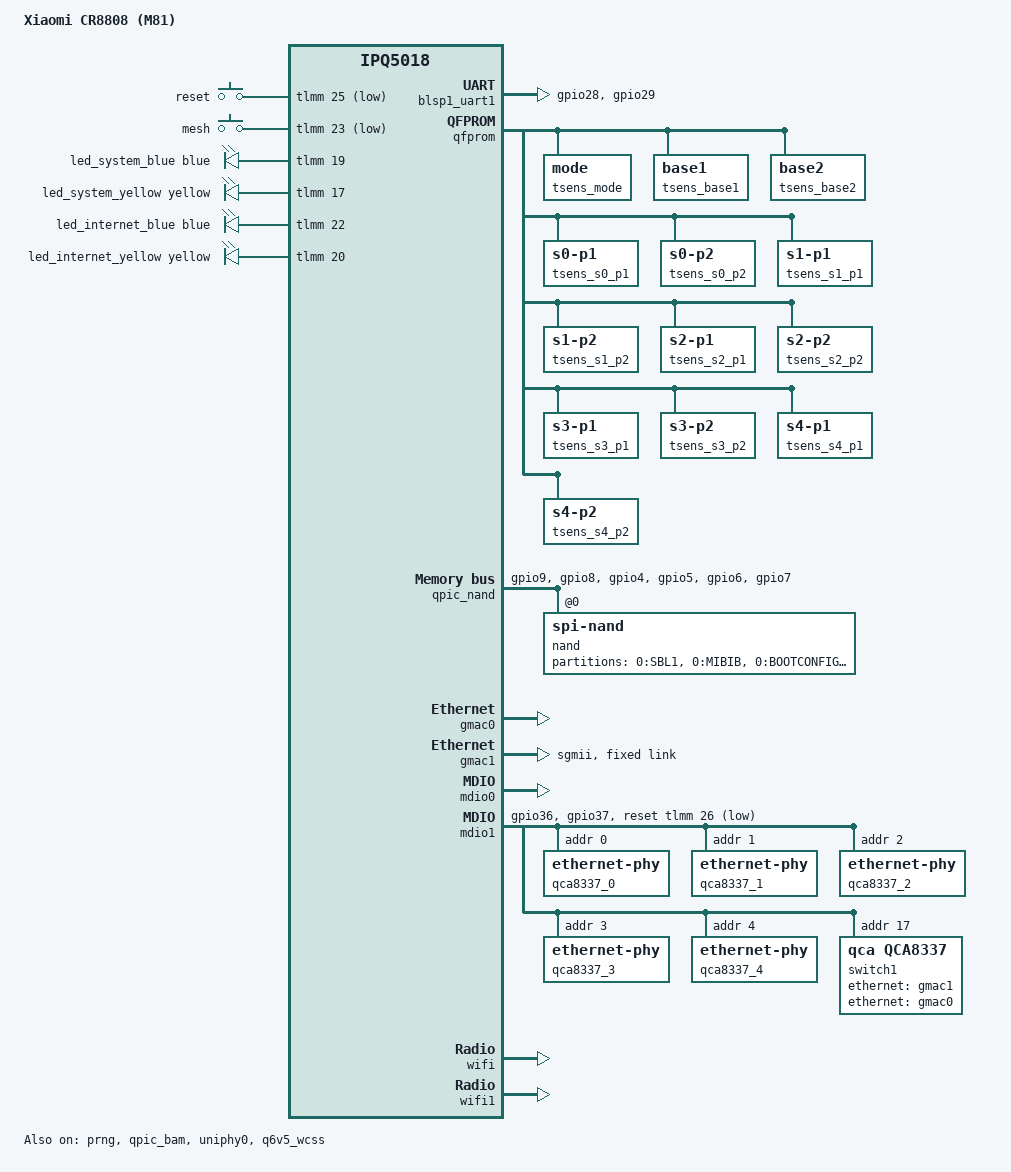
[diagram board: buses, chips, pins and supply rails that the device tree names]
// A版 M81 device tree for Xiaomi CR8808 (M81), adapted from kuncy7's
// ipq5018-cr8806.dts (c3po-tag-8021q @ 13e8bc9). The base tree has no M81
// profile, so this file lives in the scaffold repo and the workflow copies
// it into the base tree at build time (see "Install custom devices").
//
// Changes vs the M79 DTS (only identity lines differ; everything else is
// copied verbatim):
//   model: "Xiaomi CR8806 (M79)" -> "Xiaomi CR8808 (M81)"
//   compatible: "xiaomi,cr8806" -> "xiaomi,cr8808"
//   wifi (2.4 GHz) node: qcom,ath11k-calibration-variant -> qcom,board_id
//     = <0x24> (M81, epa); wifi1 (5 GHz) node: -> qcom,board_id = <0x60>
//     (shared 5 GHz entry). Board-id selection mirrors hzyitc, whose
//     hotplug script picks 0x24 for epa (external PA, M81) and 0x10 for
//     ipa (M79) from the OEM wl_pa_type flag.
//
// STATUS - READ BEFORE BUILDING:
// - Switch (QCA8337), SoC (IPQ5018), radios (IPQ5018 + QCN6122), NAND
//   (128 MB, 128k block / 2048 page) and FIT config (config@mp02.1) are
//   copied from M79. hzyitc covers M79 and M81 with a single DTS, which
//   is the evidence they match. Partitions confirmed same as M79
//   (trigsoft merged, 19 entries) by user 2026-11-05, so fixed-
//   partitions (same block as M79) replaces smem-part here. LED/button
//   GPIOs are NOT yet verified on M81 hardware in this tree, and
//   boot + WiFi on a real M81 board are still untested.
// - Board data comes from hzyitc's redmi_ax3000 board files, fetched by
//   the workflow at build time (pinned commit + sha256 check) into the
//   per-device overlay: the 2.4 GHz file carries two entries, board-id
//   0x10 (M79) and 0x24 (M81); this DTS selects 0x24. The 5 GHz file has
//   the single shared board-id 0x60 entry (RTC66568 on both boards).
//   On-device verification is still required: 2.4 GHz power/throughput
//   on real M81 hardware, before trusting the 5.4-era board data on
//   kernel 6.18 ath11k.
// - When the base tree gains a real M81 profile, delete this file and
//   the matching .mk.inc and point the config at the base profile.

// SPDX-License-Identifier: GPL-2.0-or-later OR MIT

/dts-v1/;

#include "ipq5018.dtsi"
#include "ipq5018-ess.dtsi"
#include "ipq5018-qcn6122.dtsi"
#include "ipq5018-nss.dtsi"

#include <dt-bindings/gpio/gpio.h>
#include <dt-bindings/input/input.h>
#include <dt-bindings/leds/common.h>
#include <dt-bindings/thermal/thermal.h>

/ {
	model = "Xiaomi CR8808 (M81)";
	compatible = "xiaomi,cr8808", "qcom,ipq5018";

	reserved-memory {
		q6_region_qcn6122_1: q6-region-qcn6122-1@4d200000 {
			reg = <0x0 0x4d200000 0x0 0xd00000>;
			no-map;
		};

		m3_dump_qcn6122_1: m3-dump-qcn6122-1@4df00000 {
			reg = <0x0 0x4df00000 0x0 0x100000>;
			no-map;
		};
	};

	aliases {
		serial0 = &blsp1_uart1;
		label-mac-device = &gmac0;
		led-boot = &led_system_blue;
		led-failsafe = &led_system_yellow;
		led-running = &led_system_blue;
		led-upgrade = &led_system_yellow;
	};

	chosen {
		/*
		 * Xiaomi's U-Boot passes ubi.mtd=rootfs or ubi.mtd=rootfs_1
		 * depending on flag_boot_rootfs. Keep it, so OpenWrt can live
		 * in either slot, and only override the root device.
		 *
		 * coherent_pool sizes the three atomic DMA pools (kernel, DMA,
		 * DMA32). 2M was needed while the MPD firmware loader took its
		 * segment buffers from the atomic pool. That loader is no longer
		 * in the kernel (multiPD is done in ath11k), so 512K is enough,
		 * as on the other 256 MiB boards.
		 */
		bootargs-append = " root=/dev/ubiblock0_1 swiotlb=1 coherent_pool=512K";
		stdout-path = "serial0:115200n8";
	};

	keys {
		compatible = "gpio-keys";
		pinctrl-0 = <&button_pins>;
		pinctrl-names = "default";

		reset-button {
			label = "reset";
			gpios = <&tlmm 25 GPIO_ACTIVE_LOW>;
			linux,code = <KEY_RESTART>;
		};

		mesh-button {
			label = "mesh";
			gpios = <&tlmm 23 GPIO_ACTIVE_LOW>;
			linux,code = <KEY_WPS_BUTTON>;
		};
	};

	leds {
		compatible = "gpio-leds";
		pinctrl-0 = <&led_pins>;
		pinctrl-names = "default";

		led_system_blue: led-0 {
			gpios = <&tlmm 19 GPIO_ACTIVE_HIGH>;
			color = <LED_COLOR_ID_BLUE>;
			function = LED_FUNCTION_STATUS;
			default-state = "on";
		};

		led_system_yellow: led-1 {
			gpios = <&tlmm 17 GPIO_ACTIVE_HIGH>;
			color = <LED_COLOR_ID_YELLOW>;
			function = LED_FUNCTION_STATUS;
		};

		led_internet_blue: led-2 {
			gpios = <&tlmm 22 GPIO_ACTIVE_HIGH>;
			color = <LED_COLOR_ID_BLUE>;
			function = LED_FUNCTION_WAN;
		};

		led_internet_yellow: led-3 {
			gpios = <&tlmm 20 GPIO_ACTIVE_HIGH>;
			color = <LED_COLOR_ID_YELLOW>;
			function = LED_FUNCTION_WAN;
		};
	};
};

/*
 * The vendor DT reserves 4 MiB for TZ (upstream: 2 MiB); keep Linux out
 * of the whole region.
 */
&tz_region {
	reg = <0x0 0x4ac00000 0x0 0x400000>;
};

&sleep_clk {
	clock-frequency = <32000>;
};

&xo_board_clk {
	clock-div = <4>;
	clock-mult = <1>;
};

&blsp1_uart1 {
	status = "okay";

	pinctrl-0 = <&serial_0_pins>;
	pinctrl-names = "default";
};

&prng {
	status = "okay";
};

&qfprom {
	status = "okay";

	/* TSENS calibration cells (upstream ipq5018.dtsi): the tsens
	 * node below reads these via nvmem. Without them the sensor
	 * has no calibration data and reads garbage.
	 */
	tsens_mode: mode@249 {
		reg = <0x249 0x1>;
		bits = <0 3>;
	};

	tsens_base1: base1@249 {
		reg = <0x249 0x2>;
		bits = <3 8>;
	};

	tsens_base2: base2@24a {
		reg = <0x24a 0x2>;
		bits = <3 8>;
	};

	tsens_s0_p1: s0-p1@24b {
		reg = <0x24b 0x2>;
		bits = <2 6>;
	};

	tsens_s0_p2: s0-p2@24c {
		reg = <0x24c 0x1>;
		bits = <1 6>;
	};

	tsens_s1_p1: s1-p1@24c {
		reg = <0x24c 0x2>;
		bits = <7 6>;
	};

	tsens_s1_p2: s1-p2@24d {
		reg = <0x24d 0x2>;
		bits = <5 6>;
	};

	tsens_s2_p1: s2-p1@24e {
		reg = <0x24e 0x2>;
		bits = <3 6>;
	};

	tsens_s2_p2: s2-p2@24f {
		reg = <0x24f 0x1>;
		bits = <1 6>;
	};

	tsens_s3_p1: s3-p1@24f {
		reg = <0x24f 0x2>;
		bits = <7 6>;
	};

	tsens_s3_p2: s3-p2@250 {
		reg = <0x250 0x2>;
		bits = <5 6>;
	};

	tsens_s4_p1: s4-p1@251 {
		reg = <0x251 0x2>;
		bits = <3 6>;
	};

	tsens_s4_p2: s4-p2@254 {
		reg = <0x254 0x1>;
		bits = <0 6>;
	};
};

&qpic_bam {
	status = "okay";
};

&qpic_nand {
	pinctrl-0 = <&qpic_pins>;
	pinctrl-names = "default";
	status = "okay";

	nand@0 {
		compatible = "spi-nand";
		reg = <0>;
		nand-ecc-engine = <&qpic_nand>;
		/*
		 * NAND ECC strength is 4-bit (step 512), NOT 8-bit.
		 * kuncy7's stock-U-Boot note ("stock U-Boot uses 8-bit ECC")
		 * does NOT apply to trigsoft-chain devices: trigsoft's
		 * modified U-Boot reads/writes NAND with 4-bit-compatible
		 * ECC, so an 8-bit kernel cannot decode trigsoft-written
		 * pages (UBI attach fails, no boot). Build #6 (8-bit)
		 * failed exactly this way via trigsoft web flash, while
		 * HZYITC 5.4 (4-bit) and ImmortalWrt (default = 4-bit)
		 * both boot. Diagnosis 2026-11-03 (build6-diagnosis).
		 */
		nand-ecc-step-size = <512>;
		nand-ecc-strength = <4>;
		nand-bus-width = <8>;

		partitions {
			compatible = "fixed-partitions";
			#address-cells = <1>;
			#size-cells = <1>;

			partition@0 {
				label = "0:SBL1";
				reg = <0x0000000 0x0080000>;
				read-only;
			};

			partition@80000 {
				label = "0:MIBIB";
				reg = <0x0080000 0x0080000>;
				read-only;
			};

			partition@100000 {
				label = "0:BOOTCONFIG";
				reg = <0x0100000 0x0040000>;
				read-only;
			};

			partition@140000 {
				label = "0:BOOTCONFIG1";
				reg = <0x0140000 0x0040000>;
				read-only;
			};

			partition@180000 {
				label = "0:QSEE";
				reg = <0x0180000 0x0100000>;
				read-only;
			};

			partition@280000 {
				label = "0:QSEE_1";
				reg = <0x0280000 0x0100000>;
				read-only;
			};

			partition@380000 {
				label = "0:DEVCFG";
				reg = <0x0380000 0x0040000>;
				read-only;
			};

			partition@3c0000 {
				label = "0:DEVCFG_1";
				reg = <0x03c0000 0x0040000>;
				read-only;
			};

			partition@400000 {
				label = "0:CDT";
				reg = <0x0400000 0x0040000>;
				read-only;
			};

			partition@440000 {
				label = "0:CDT_1";
				reg = <0x0440000 0x0040000>;
				read-only;
			};

			partition@480000 {
				label = "0:APPSBLENV";
				reg = <0x0480000 0x0080000>;
			};

			partition@500000 {
				label = "0:APPSBL";
				reg = <0x0500000 0x0140000>;
				read-only;
			};

			partition@640000 {
				label = "0:APPSBL_1";
				reg = <0x0640000 0x0140000>;
				read-only;
			};

			partition@780000 {
				label = "0:ART";
				reg = <0x0780000 0x0100000>;
				read-only;

				nvmem-layout {
					compatible = "fixed-layout";
					#address-cells = <1>;
					#size-cells = <1>;

					macaddr_art_0: mac-address@0 {
						compatible = "mac-base";
						reg = <0x0 0x6>;
						#nvmem-cell-cells = <1>;
					};

					macaddr_art_6: mac-address@6 {
						compatible = "mac-base";
						reg = <0x6 0x6>;
						#nvmem-cell-cells = <1>;
					};
				};
			};

			partition@880000 {
				label = "0:TRAINING";
				reg = <0x0880000 0x0080000>;
				read-only;
			};

			partition@900000 {
				label = "bdata";
				reg = <0x0900000 0x0080000>;
			};

			partition@980000 {
				label = "crash";
				reg = <0x0980000 0x0080000>;
			};

			partition@a00000 {
				label = "crash_log";
				reg = <0x0a00000 0x0080000>;
			};

			partition@a80000 {
				label = "rootfs";
				reg = <0x0a80000 0x7480000>;
			};
		};
	};
};

&uniphy0 {
	status = "okay";

	assigned-clocks = <&uniphy0 UNIPHY_CLK_REF>;
	assigned-clock-rates = <UNIPHY_REFCLK_25MHZ>;
};

// MAC0 -> GE Phy -> QCA8337 Phy4 (WAN path)
&gmac0 {
	status = "okay";

	nvmem-cells = <&macaddr_art_0 0>;
	nvmem-cell-names = "mac-address";
};

// MAC1 ---SGMII---> QCA8337 SerDes (LAN path)
&gmac1 {
	status = "okay";

	phy-mode = "sgmii";

	nvmem-cells = <&macaddr_art_6 0>;
	nvmem-cell-names = "mac-address";

	fixed-link {
		speed = <1000>;
		full-duplex;
	};
};

&mdio0 {
	status = "okay";
};

&ge_phy {
	qcom,dac-preset-short-cable;
};

&mdio1 {
	status = "okay";

	pinctrl-0 = <&mdio1_pins>;
	pinctrl-names = "default";
	reset-gpios = <&tlmm 26 GPIO_ACTIVE_LOW>;

	// QCA8337 Phy0 -> LAN1
	qca8337_0: ethernet-phy@0 {
		reg = <0>;
	};

	// QCA8337 Phy1 -> LAN2
	qca8337_1: ethernet-phy@1 {
		reg = <1>;
	};

	// QCA8337 Phy2 -> LAN3
	qca8337_2: ethernet-phy@2 {
		reg = <2>;
	};

	// QCA8337 Phy3 -> WAN
	qca8337_3: ethernet-phy@3 {
		reg = <3>;
	};

	// QCA8337 Phy4 -> IPQ5018 GE Phy
	qca8337_4: ethernet-phy@4 {
		reg = <4>;
	};

	switch1: ethernet-switch@17 {
		compatible = "qca,qca8337";
		reg = <17>;
		#address-cells = <1>;
		#size-cells = <0>;

		ethernet-ports {
			#address-cells = <1>;
			#size-cells = <0>;

			ethernet-port@0 {
				reg = <0>;
				phy-mode = "sgmii";
				ethernet = <&gmac1>;
				qca,sgmii-enable-pll;

				fixed-link {
					speed = <1000>;
					full-duplex;
				};
			};

			ethernet-port@1 {
				reg = <1>;
				label = "lan1";
				phy-handle = <&qca8337_0>;
			};

			ethernet-port@2 {
				reg = <2>;
				label = "lan2";
				phy-handle = <&qca8337_1>;
			};

			ethernet-port@3 {
				reg = <3>;
				label = "lan3";
				phy-handle = <&qca8337_2>;
			};

			ethernet-port@4 {
				reg = <4>;
				label = "wan";
				phy-handle = <&qca8337_3>;
				nvmem-cells = <&macaddr_art_0 0>;
				nvmem-cell-names = "mac-address";
			};

			/*
			 * Port 5 connects to GMAC0 via PHY4, but all user ports are
			 * assigned to conduit eth1 (GMAC1/port 0). Keeping port 5
			 * enabled causes the switch to flood routed/WAN frames to
			 * GMAC0, triggering high softirq packet drop storms on eth0.
			 * (Upstream a67d696c5d, 2026-11-07: disable unused port 5.)
			 */
			ethernet-port@5 {
				reg = <5>;
				phy-handle = <&qca8337_4>;
				phy-mode = "gmii";
				ethernet = <&gmac0>;
				status = "disabled";
			};
		};
	};
};

&tlmm {
	button_pins: button-state {
		pins = "gpio23", "gpio25";
		function = "gpio";
		drive-strength = <8>;
		bias-pull-up;
	};

	led_pins: led-state {
		pins = "gpio17", "gpio19", "gpio20", "gpio22";
		function = "gpio";
		drive-strength = <8>;
		bias-pull-down;
	};

	mdio1_pins: mdio-state {
		mdc-pins {
			pins = "gpio36";
			function = "mdc";
			drive-strength = <8>;
			bias-pull-up;
		};

		mdio-pins {
			pins = "gpio37";
			function = "mdio";
			drive-strength = <8>;
			bias-pull-up;
		};
	};

	qpic_pins: qpic-state {
		clock-pins {
			pins = "gpio9";
			function = "qspi_clk";
			drive-strength = <8>;
			bias-disable;
		};

		cs-pins {
			pins = "gpio8";
			function = "qspi_cs";
			drive-strength = <8>;
			bias-disable;
		};

		data-pins {
			pins = "gpio4", "gpio5", "gpio6", "gpio7";
			function = "qspi_data";
			drive-strength = <8>;
			bias-disable;
		};
	};

	serial_0_pins: uart0-state {
		pins = "gpio28", "gpio29";
		function = "blsp0_uart1";
		drive-strength = <8>;
		bias-disable;
	};
};

&q6v5_wcss {
	/* QCN6122 radio on PCIe1, user PD 2, reset on GPIO27 */
	boot-args = </*       type:	*/ 0x2 /* PCIE1	*/
		     /*     length:	*/ 4
		     /*     UPD ID:	*/ 2
		     /* reset GPIO:	*/ 27
		     /*   reserved:	*/ 0 0>;
	status = "okay";
};

/*
 * 256 MiB of RAM: use the low-memory firmware profile (mode 2), as the
 * vendor firmware does (qcom,tgt-mem-mode = <2>).
 */
&wifi {
	status = "okay";
	ieee80211-freq-limit = <2400000 2483000>;

	qcom,rproc = <&q6v5_wcss>;
	qcom,board_id = <0x24>;
	qcom,ath11k-fw-memory-mode = <2>;
};

&wifi1 {
	status = "okay";

	qcom,rproc = <&q6v5_wcss>;
	qcom,board_id = <0x60>;
	qcom,ath11k-fw-memory-mode = <2>;
	ieee80211-freq-limit = <5150000 5850000>;

	memory-region = <&q6_region_qcn6122_1>, <&q6_region_ipq5018>, <&m3_dump_qcn6122_1>;
	memory-region-names = "q6-region", "m3-region", "m3-dump";
};

/* 256 MB board: NSS heap 8 MiB, as on the other QCN6122 256 MB boards */
&nss_region {
	reg = <0x0 0x40000000 0x0 0x800000>;
};

/*
 * TSENS thermal sensor + thermal zones (upstream ipq5018.dtsi, 2025):
 * IPQ5018 has a tsens v1.0 block with 5 sensors (4 in use). There is
 * no RPM, so the driver explicitly resets/enables it (standalone
 * compatible "qcom,ipq5018-tsens", no "qcom,tsens-v1" fallback).
 * The kernel already has CONFIG_QCOM_TSENS=y; without this node the
 * driver has nothing to bind to, so no thermal zone exists and LuCI
 * cannot show CPU temperature. With it, /sys/class/thermal/ appears
 * and LuCI's status page shows the CPU temperature (like the main
 * router). Critical trip is 120C (reboot); cpu_alert at 100C throttles
 * via CPU frequency scaling.
 */
&soc {
	tsens: thermal-sensor@4a9000 {
		compatible = "qcom,ipq5018-tsens";
		reg = <0x004a9000 0x1000>,
		      <0x004a8000 0x1000>;

		nvmem-cells = <&tsens_mode>,
			      <&tsens_base1>,
			      <&tsens_base2>,
			      <&tsens_s0_p1>,
			      <&tsens_s0_p2>,
			      <&tsens_s1_p1>,
			      <&tsens_s1_p2>,
			      <&tsens_s2_p1>,
			      <&tsens_s2_p2>,
			      <&tsens_s3_p1>,
			      <&tsens_s3_p2>,
			      <&tsens_s4_p1>,
			      <&tsens_s4_p2>;

		nvmem-cell-names = "mode",
				   "base1",
				   "base2",
				   "s0_p1",
				   "s0_p2",
				   "s1_p1",
				   "s1_p2",
				   "s2_p1",
				   "s2_p2",
				   "s3_p1",
				   "s3_p2",
				   "s4_p1",
				   "s4_p2";

		interrupts = <GIC_SPI 184 IRQ_TYPE_EDGE_RISING>;
		interrupt-names = "uplow";
		#qcom,sensors = <5>;
		#thermal-sensor-cells = <1>;
	};
};

/ {
	thermal-zones {
		cpu-thermal {
			thermal-sensors = <&tsens 2>;

			trips {
				cpu-critical {
					temperature = <120000>;
					hysteresis = <1000>;
					type = "critical";
				};

				cpu_alert: cpu-passive {
					temperature = <100000>;
					hysteresis = <1000>;
					type = "passive";
				};
			};

			cooling-maps {
				map0 {
					trip = <&cpu_alert>;
					cooling-device = <&cpu0 THERMAL_NO_LIMIT THERMAL_NO_LIMIT>,
							 <&cpu1 THERMAL_NO_LIMIT THERMAL_NO_LIMIT>;
				};
			};
		};

		gephy-thermal {
			thermal-sensors = <&tsens 4>;

			trips {
				gephy-critical {
					temperature = <120000>;
					hysteresis = <1000>;
					type = "critical";
				};
			};
		};

		top-glue-thermal {
			thermal-sensors = <&tsens 3>;

			trips {
				top-glue-critical {
					temperature = <120000>;
					hysteresis = <1000>;
					type = "critical";
				};
			};
		};

		ubi32-thermal {
			thermal-sensors = <&tsens 1>;

			trips {
				ubi32-critical {
					temperature = <120000>;
					hysteresis = <1000>;
					type = "critical";
				};
			};
		};
	};
};
